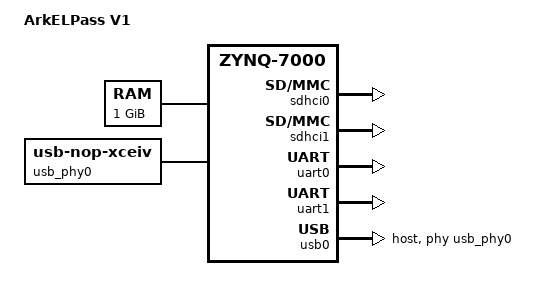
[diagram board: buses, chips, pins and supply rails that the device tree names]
// SPDX-License-Identifier: GPL-2.0+
/dts-v1/;
#include "zynq-7000.dtsi"
#include "pl.dtsi"

/ {
	model = "ArkELPass V1";
	compatible = "rhodesisland,elpass", "xlnx,zynq-7000";

	aliases {
		serial0 = &uart0;
		mmc0 = &sdhci0;
		usb0 = &usb0;
		display0 = &el_display_engine_0;
	};

	memory@0 {
		device_type = "memory";
		reg = <0x0 0x40000000>;
	};

	chosen {
		bootargs = "";
		stdout-path = "serial0:115200n8";
	};

	usb_phy0: phy0 {
		#phy-cells = <0>;
		compatible = "usb-nop-xceiv";
	};
};

&clkc {
	ps-clk-frequency = <50000000>;
};

&sdhci0 {
	bootph-all;
	status = "okay";
};

&sdhci1 {
	status = "okay";
};

&uart0 {
	bootph-all;
	status = "okay";
};

&uart1 {
	status = "okay";
};

&usb0 {
	status = "okay";
	dr_mode = "host";
	usb-phy = <&usb_phy0>;
};
